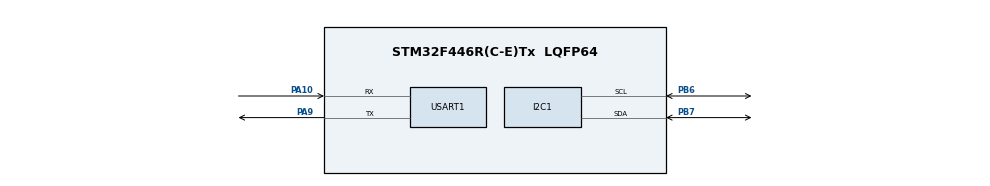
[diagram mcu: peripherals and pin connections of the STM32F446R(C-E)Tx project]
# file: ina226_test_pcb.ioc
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I2C1.I2C_Mode=I2C_Fast
Mcu.Family=STM32F4
Mcu.Name=STM32F446R(C-E)Tx
Mcu.Package=LQFP64
NVIC.PriorityGroup=NVIC_PRIORITYGROUP_4
PA10.Mode=Asynchronous
PA10.Signal=USART1_RX
PA9.Mode=Asynchronous
PA9.Signal=USART1_TX
PB6.Mode=I2C
PB6.Signal=I2C1_SCL
PB7.Mode=I2C
PB7.Signal=I2C1_SDA
ProjectManager.HeapSize=0x200
ProjectManager.StackSize=0x400
ProjectManager.TargetToolchain=STM32CubeIDE
RCC.CortexFreq_Value=16000000
RCC.USBFreq_Value=96000000
RCC.VCOOutputFreq_Value=192000000
USART1.VirtualMode=VM_ASYNC
board=custom

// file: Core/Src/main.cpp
/* USER CODE BEGIN Header */
/**
  ******************************************************************************
  * @file           : main.c
  * @brief          : Main program body
  ******************************************************************************
  * @attention
  *
  * Copyright (c) 2026 STMicroelectronics.
  * All rights reserved.
  *
  * This software is licensed under terms that can be found in the LICENSE file
  * in the root directory of this software component.
  * If no LICENSE file comes with this software, it is provided AS-IS.
  *
  ******************************************************************************
  */
/* USER CODE END Header */
#include "main.h"

/* USER CODE BEGIN Includes */
#include<INA226stm.h>
#include<stdio.h>
/* USER CODE END Includes */

I2C_HandleTypeDef hi2c1;

UART_HandleTypeDef huart1;

/* USER CODE BEGIN PV */
INA226stm sensor(0x44,&hi2c1);
/* USER CODE END PV */

void SystemClock_Config(void);
static void MX_GPIO_Init(void);
static void MX_I2C1_Init(void);
static void MX_USART1_UART_Init(void);

/* USER CODE BEGIN 0 */
// Send printf to uart1
extern "C" int _write(int fd, char* ptr, int len) {
  HAL_StatusTypeDef hstatus;

  if (fd == 1 || fd == 2) {
    hstatus = HAL_UART_Transmit(&huart1, (uint8_t *) ptr, len, HAL_MAX_DELAY);
    if (hstatus == HAL_OK)
      return len;
    else
      return -1;
  }
  return -1;
}
/* USER CODE END 0 */

int main(void)
{

  /* MCU Configuration--------------------------------------------------------*/

  /* Reset of all peripherals, Initializes the Flash interface and the Systick. */
  HAL_Init();

  /* Configure the system clock */
  SystemClock_Config();

  /* Initialize all configured peripherals */
  MX_GPIO_Init();
  MX_I2C1_Init();
  MX_USART1_UART_Init();
  /* USER CODE BEGIN 2 */
  setvbuf(stdout, NULL, _IONBF, 0);

    float VshuntMax =  0.08192;  //81.92mV
    float resistor =   0.797;       //100mohm in theory 0.797
    float maxcurrent =  (VshuntMax / resistor); //A
    float current_LSB =  (maxcurrent / 32768)*1000; //mA

    if(sensor.begin()){
  	  printf("connected\r\n");
  	  HAL_Delay(3000);
    }
    else{
  	  while(1){
  		  printf("not connected\r\n");
  	  }
    sensor.configure(resistor, current_LSB);
    sensor.setAverage(7);
    sensor.setMode(7);

    if(sensor.isCalibrated()){
  	  printf("calibration successful\r\n");
  	  HAL_Delay(2000);
    }
    else{
  	  printf("calibration failed\r\n");
    }
    }
  /* USER CODE END 2 */

  /* Infinite loop */
  /* USER CODE BEGIN WHILE */
  while (1)
  {
	  float busV = sensor.getBusVoltage();
	  float current = sensor.getCurrent();
	  busV+=0.05;
	  printf("busV : %.2f | Current: %.2f\r\n",busV,current);
    /* USER CODE END WHILE */

  }
}

void SystemClock_Config(void)
{
  RCC_OscInitTypeDef RCC_OscInitStruct = {0};
  RCC_ClkInitTypeDef RCC_ClkInitStruct = {0};

  /** Configure the main internal regulator output voltage
  */
  __HAL_RCC_PWR_CLK_ENABLE();
  __HAL_PWR_VOLTAGESCALING_CONFIG(PWR_REGULATOR_VOLTAGE_SCALE3);

  /** Initializes the RCC Oscillators according to the specified parameters
  * in the RCC_OscInitTypeDef structure.
  */
  RCC_OscInitStruct.OscillatorType = RCC_OSCILLATORTYPE_HSI;
  RCC_OscInitStruct.HSIState = RCC_HSI_ON;
  RCC_OscInitStruct.HSICalibrationValue = RCC_HSICALIBRATION_DEFAULT;
  RCC_OscInitStruct.PLL.PLLState = RCC_PLL_NONE;
  if (HAL_RCC_OscConfig(&RCC_OscInitStruct) != HAL_OK)
  {
    Error_Handler();
  }

  /** Initializes the CPU, AHB and APB buses clocks
  */
  RCC_ClkInitStruct.ClockType = RCC_CLOCKTYPE_HCLK|RCC_CLOCKTYPE_SYSCLK
                              |RCC_CLOCKTYPE_PCLK1|RCC_CLOCKTYPE_PCLK2;
  RCC_ClkInitStruct.SYSCLKSource = RCC_SYSCLKSOURCE_HSI;
  RCC_ClkInitStruct.AHBCLKDivider = RCC_SYSCLK_DIV1;
  RCC_ClkInitStruct.APB1CLKDivider = RCC_HCLK_DIV1;
  RCC_ClkInitStruct.APB2CLKDivider = RCC_HCLK_DIV1;

  if (HAL_RCC_ClockConfig(&RCC_ClkInitStruct, FLASH_LATENCY_0) != HAL_OK)
  {
    Error_Handler();
  }
}

static void MX_I2C1_Init(void)
{

  hi2c1.Instance = I2C1;
  hi2c1.Init.ClockSpeed = 400000;
  hi2c1.Init.DutyCycle = I2C_DUTYCYCLE_2;
  hi2c1.Init.OwnAddress1 = 0;
  hi2c1.Init.AddressingMode = I2C_ADDRESSINGMODE_7BIT;
  hi2c1.Init.DualAddressMode = I2C_DUALADDRESS_DISABLE;
  hi2c1.Init.OwnAddress2 = 0;
  hi2c1.Init.GeneralCallMode = I2C_GENERALCALL_DISABLE;
  hi2c1.Init.NoStretchMode = I2C_NOSTRETCH_DISABLE;
  if (HAL_I2C_Init(&hi2c1) != HAL_OK)
  {
    Error_Handler();
  }

}

static void MX_USART1_UART_Init(void)
{

  huart1.Instance = USART1;
  huart1.Init.BaudRate = 115200;
  huart1.Init.WordLength = UART_WORDLENGTH_8B;
  huart1.Init.StopBits = UART_STOPBITS_1;
  huart1.Init.Parity = UART_PARITY_NONE;
  huart1.Init.Mode = UART_MODE_TX_RX;
  huart1.Init.HwFlowCtl = UART_HWCONTROL_NONE;
  huart1.Init.OverSampling = UART_OVERSAMPLING_16;
  if (HAL_UART_Init(&huart1) != HAL_OK)
  {
    Error_Handler();
  }

}

static void MX_GPIO_Init(void)
{

  /* GPIO Ports Clock Enable */
  __HAL_RCC_GPIOA_CLK_ENABLE();
  __HAL_RCC_GPIOB_CLK_ENABLE();

}

void Error_Handler(void)
{
  __disable_irq();
  while (1)
  {
  }
}
